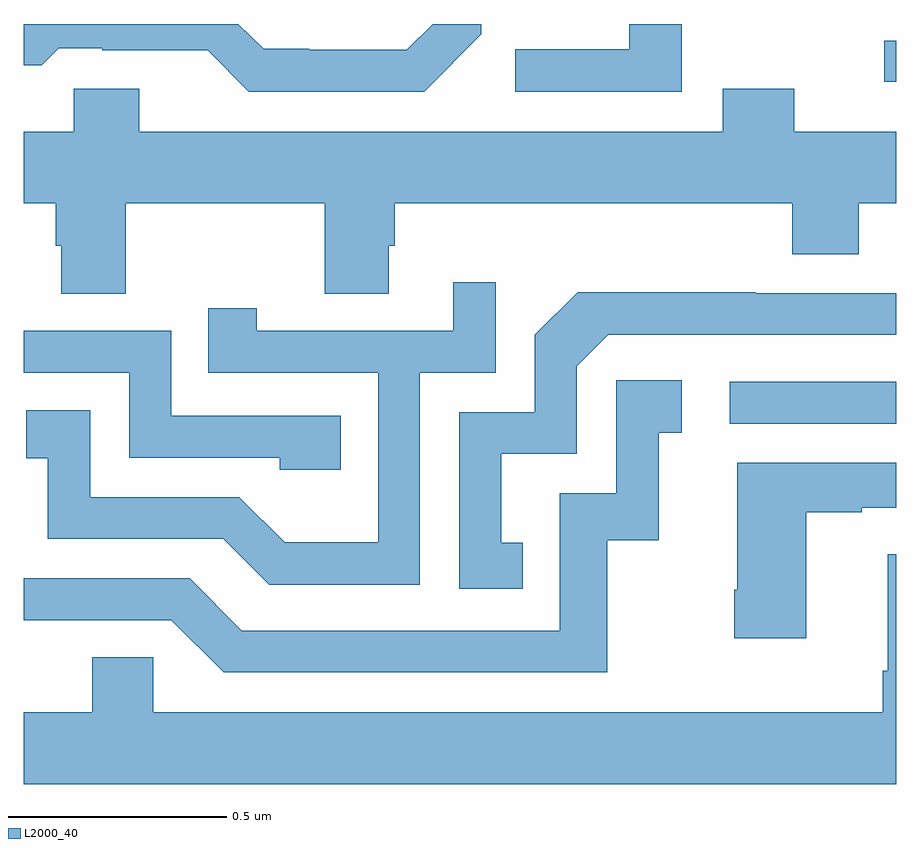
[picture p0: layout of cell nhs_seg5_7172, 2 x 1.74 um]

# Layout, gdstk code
import gdstk
lib = gdstk.Library(unit=1e-6, precision=1e-09)
def R(c, l, rs):  # rectangles x0, y0, x1, y1
    for r in rs: c.add(gdstk.rectangle(r[:2], r[2:], *l))
def P(c, l, *ps):  # polygons
    for p in ps: c.add(gdstk.Polygon(p, *l))
L2000_40 = (2000, 40)

nhs_seg5_7172 = lib.new_cell('nhs_seg5_7172')
R(nhs_seg5_7172, L2000_40, [(206.619,894.882,207,894.978), (206.973,895.667,207,895.761)])
P(nhs_seg5_7172, L2000_40, [(206.509,895.799),(206.388,895.799),(206.388,895.741),(206.127,895.741),(206.127,895.644),(206.509,895.644)],
  [(206.049,895.775),(206.049,895.799),(205.937,895.799),(205.878,895.74),(205.654,895.74),(205.654,895.742),(205.55,895.742),(205.492,895.799),(205,895.799),(205,895.704),(205.041,895.704),(205.08,895.743),(205.18,895.743),(205.18,895.739),(205.421,895.739),(205.515,895.644),(205.918,895.644)],
  [(205.233,895.388),(205.69,895.388),(205.69,895.18),(205.837,895.18),(205.837,895.29),(205.85,895.29),(205.85,895.388),(206.762,895.388),(206.762,895.271),(206.914,895.271),(206.914,895.388),(207,895.388),(207,895.552),(206.767,895.552),(206.767,895.651),(206.603,895.651),(206.603,895.552),(205.264,895.552),(205.264,895.65),(205.114,895.65),(205.114,895.552),(205,895.552),(205,895.388),(205.073,895.388),(205.073,895.29),(205.085,895.29),(205.085,895.18),(205.233,895.18)],
  [(205.908,894.999),(206.082,894.999),(206.082,895.207),(205.985,895.207),(205.985,895.095),(205.534,895.095),(205.534,895.147),(205.423,895.147),(205.423,894.999),(205.812,894.999),(205.812,894.61),(205.598,894.61),(205.494,894.714),(205.152,894.714),(205.152,894.913),(205.005,894.913),(205.005,894.803),(205.054,894.803),(205.054,894.618),(205.457,894.618),(205.562,894.513),(205.908,894.513)],
  [(206.144,894.609),(206.095,894.609),(206.095,894.813),(206.268,894.813),(206.268,895.014),(206.34,895.086),(207,895.086),(207,895.182),(206.678,895.182),(206.678,895.184),(206.27,895.184),(206.172,895.086),(206.172,894.909),(205.998,894.909),(205.998,894.504),(206.144,894.504)],
  [(205.727,894.9),(205.338,894.9),(205.338,895.095),(205,895.095),(205,894.999),(205.242,894.999),(205.242,894.804),(205.587,894.804),(205.587,894.777),(205.727,894.777)],
  [(206.338,894.615),(206.456,894.615),(206.456,894.861),(206.509,894.861),(206.509,894.982),(206.358,894.982),(206.358,894.723),(206.229,894.723),(206.229,894.408),(205.5,894.408),(205.38,894.528),(205,894.528),(205,894.432),(205.338,894.432),(205.458,894.312),(206.338,894.312)],
  [(206.794,894.679),(206.921,894.679),(206.921,894.689),(207,894.689),(207,894.793),(206.636,894.793),(206.636,894.502),(206.629,894.502),(206.629,894.39),(206.794,894.39)],
  [(207,894.583),(206.981,894.583),(206.981,894.316),(206.969,894.316),(206.969,894.22),(205.296,894.22),(205.296,894.347),(205.157,894.347),(205.157,894.22),(205,894.22),(205,894.056),(207,894.056)])

lib.write_gds('nhs_seg5_7172.gds')
